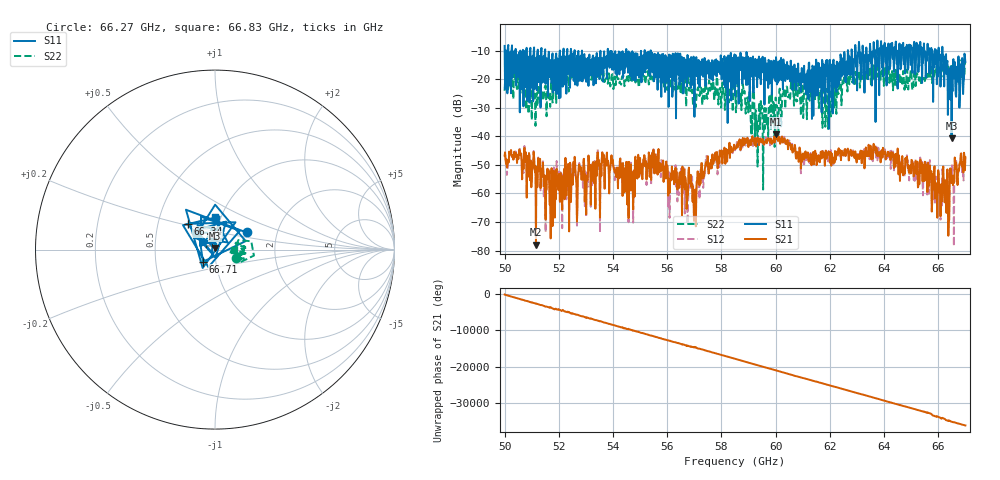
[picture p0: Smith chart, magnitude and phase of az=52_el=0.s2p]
!Created with skrf (http://scikit-rf.org).
# GHz S RI R 50.0
!freq ReS11 ImS11 ReS21 ImS21 ReS12 ImS12 ReS22 ImS22
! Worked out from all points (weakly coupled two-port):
!   1001 points, 50 GHz to 67 GHz, reference 50 ohm
!   highest |S21| = -39.27 dB at 60.01 GHz (marker M1); lowest = -78.0 dB at 51.16 GHz (marker M2)
!   lowest |S11| = -40.6 dB at 66.49 GHz (marker M3), VSWR 1.02, Z = 49.9 + j0.927 ohm
!   |S11| at or under -10 dB: 52.86 GHz to 53.81 GHz (949.4 MHz wide, 1.78 % of centre); 55.39 GHz to 62.66 GHz (7.275 GHz wide, 12.3 % of centre); 66.16 GHz to end of sweep (the widest 3 of 60)
!   |S22| runs from -58.7 to -13.2 dB; largest |S21 - S12| = 0.0024
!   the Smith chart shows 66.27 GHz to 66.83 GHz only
!   S11 on the Smith chart (normalised r, x): 66.27 GHz: 1.39, +0.28; 66.34 GHz: 0.71, +0.21; 66.71 GHz: 0.87, -0.12; 66.83 GHz: 0.93, +0.35
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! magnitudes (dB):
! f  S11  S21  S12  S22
! 50 GHz  -8.3  -46.7  -46.4  -24.1
! 51.16 GHz  -15.9  -78.0  -60.8  -29.5
! 51.78 GHz  -24.6  -63.3  -61.9  -26.1
! 52.84 GHz  -12.5  -55.2  -53.8  -19.6
! 53.69 GHz  -16.1  -58.3  -55.9  -21.0
! 54.66 GHz  -13.9  -49.8  -49.2  -20.4
! 55.68 GHz  -13.4  -44.4  -45.5  -21.2
! 56.87 GHz  -23.1  -53.5  -58.4  -22.5
! 56.99 GHz  -12.8  -69.6  -62.8  -21.4
! 57.43 GHz  -13.8  -49.1  -47.6  -21.2
! 58.5 GHz  -25.8  -44.1  -44.9  -24.3
! 59.3 GHz  -14.9  -41.4  -41.1  -37.8
! 60.01 GHz  -12.3  -39.3  -40.8  -26.7
! 60.64 GHz  -15.5  -44.3  -45.5  -23.4
! 61.34 GHz  -33.9  -47.3  -49.9  -27.6
! 64.18 GHz  -12.0  -46.8  -47.6  -17.4
! 66.27 GHz  -14.0  -55.4  -59.4  -18.0
! 66.34 GHz  -13.6  -51.6  -52.8  -17.4
! 66.49 GHz  -40.6  -56.4  -55.8  -15.4
! 66.71 GHz  -20.5  -57.1  -56.5  -15.7
! 66.83 GHz  -14.8  -46.6  -46.0  -19.3
! 67 GHz  -14.0  -47.4  -48.6  -14.5
